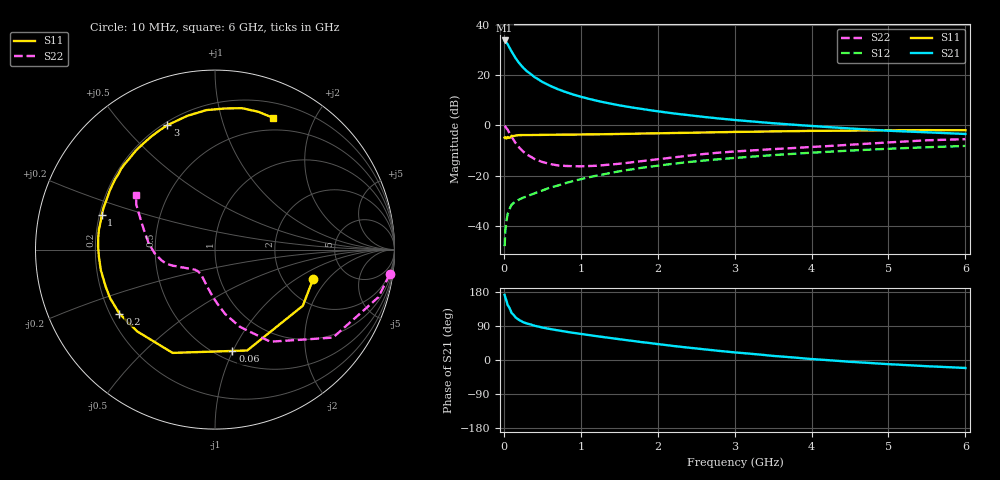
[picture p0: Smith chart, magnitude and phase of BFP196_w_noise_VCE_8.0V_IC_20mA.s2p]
! Infineon Technologies  Discrete & RF Semiconductors
! BFP196
! VCE =  8.0 V,  IC =  20 mA
! Common Emitter S-Parameters:  Jan 2017
# GHz  S  MA  R  50
!  f  S11  S21  S12  S22
! GHz  MAG  ANG  MAG  ANG  MAG  ANG  MAG  ANG
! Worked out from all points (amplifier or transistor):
!   77 points, 10 MHz to 6 GHz, reference 50 ohm
!   highest |S21| = 33.7 dB at 10 MHz (marker M1)
!   |S21| within 3 dB of that: start of sweep to 75.85 MHz
!   unconditionally stable (mu >= 1): 812.2 MHz to 2.368 GHz
!   at 130 MHz: K = 0.37, MSG = 29.3 dB, |S12| = -30.8 dB
!   at 2.2 GHz: K = 1.01, MAG = 9.4 dB, |S12| = -15.3 dB
!   at 6 GHz: K = 0.92, MSG = 2.4 dB, |S12| = -8.2 dB
!   lowest NFmin = 1.10 dB at 450 MHz
!   S11 on the Smith chart (normalised r, x): 10 MHz: 2.92, -1.40; 60 MHz: 0.59, -0.99; 200 MHz: 0.24, -0.29; 1 GHz: 0.21, +0.14; 3 GHz: 0.22, +0.67; 6 GHz: 0.36, +1.47
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0.01  0.5711 -16.5  48.58 171.9  0.004 86.1  0.9826 -8.1
0.02  0.5807 -32.6  47.88 164.5  0.0084 79.2  0.9485 -16.2
0.05  0.59 -72.3  40.78 145.0  0.0175 61.9  0.8202 -36.7
0.06  0.5729 -80.3  38.2 141.9  0.0192 58.8  0.7682 -40.1
0.1  0.6221 -112.3  29.48 124.4  0.0266 50.7  0.5984 -59.0
0.15  0.629 -133.6  21.91 112.8  0.0307 45.8  0.4519 -72.1
0.2  0.6409 -146.2  17.22 105.5  0.0338 44.7  0.3636 -81.0
0.25  0.6439 -155.0  14.08 100.0  0.0367 45.2  0.3039 -87.2
0.3  0.6432 -161.2  11.89 96.3  0.039 46.0  0.2638 -92.6
0.4  0.6464 -169.8  9.071 90.3  0.0448 49.9  0.215 -100.9
0.5  0.6481 -176.6  7.295 85.7  0.051 52.1  0.1879 -107.6
0.6  0.6518 178.3  6.124 81.8  0.0582 54.1  0.1714 -113.3
0.7  0.6538 174.1  5.256 78.4  0.0638 55.9  0.1607 -117.8
1  0.6602 163.0  3.713 68.9  0.0854 57.6  0.1539 -129.2
1.1  0.6631 159.7  3.384 66.0  0.0931 58.1  0.1559 -131.8
1.5  0.6757 147.7  2.506 55.0  0.1224 56.4  0.1732 -142.4
2.1  0.7003 131.1  1.818 39.7  0.1656 51.3  0.2215 -154.4
3  0.7423 111.0  1.281 20.0  0.2257 41.7  0.3036 -168.5
3.1  0.7444 109.1  1.243 18.4  0.2318 40.5  0.31 -170.3
4.1  0.7796 92.0  0.952 1.2  0.2927 29.4  0.3801 171.9
5.1  0.8019 77.9  0.772 -12.0  0.3483 17.9  0.4685 154.7
6  0.8022 66.4  0.676 -21.1  0.3911 7.7  0.5336 145.2
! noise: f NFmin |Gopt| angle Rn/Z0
0.45  1.1  0.34  159  0.05
0.9  1.3  0.47  179  0.06
1.9  2.2  0.68  -137  0.24
2.4  2.65  0.72  -122  0.59
